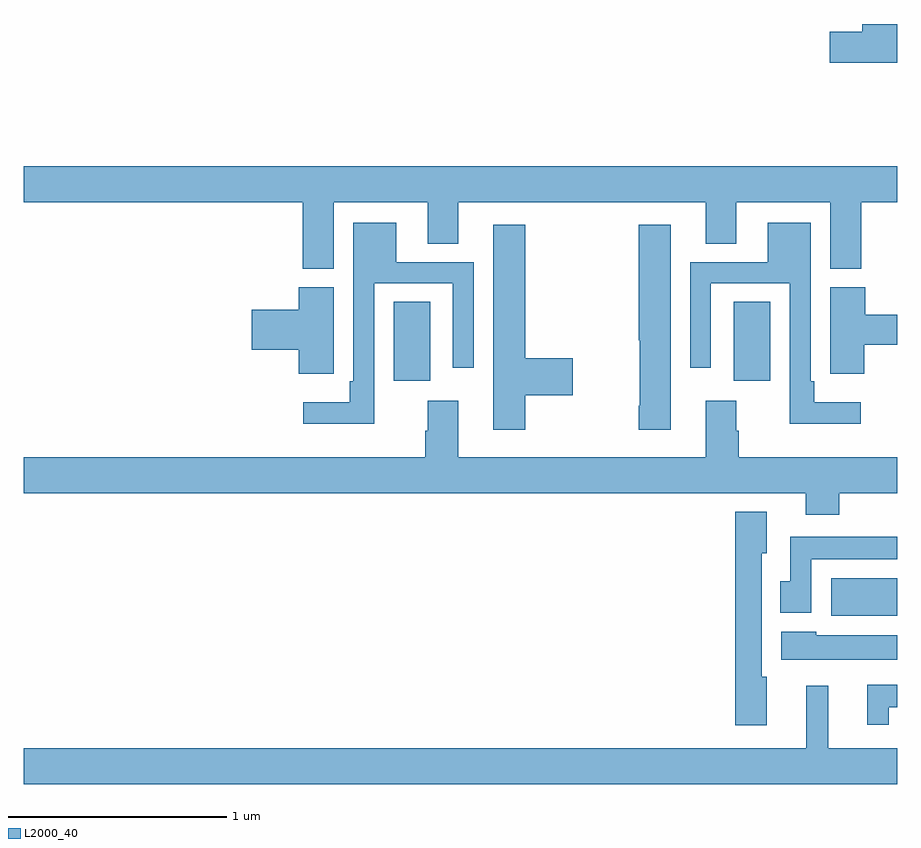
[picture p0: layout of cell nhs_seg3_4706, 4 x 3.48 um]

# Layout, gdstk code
import gdstk
lib = gdstk.Library(unit=1e-6, precision=1e-09)
def R(c, l, rs):  # rectangles x0, y0, x1, y1
    for r in rs: c.add(gdstk.rectangle(r[:2], r[2:], *l))
def P(c, l, *ps):  # polygons
    for p in ps: c.add(gdstk.Polygon(p, *l))
L2000_40 = (2000, 40)

nhs_seg3_4706 = lib.new_cell('nhs_seg3_4706')
R(nhs_seg3_4706, L2000_40, [(366.698,741.647,367,741.817), (364.694,742.722,364.861,743.084), (366.251,742.722,366.418,743.084)])
P(nhs_seg3_4706, L2000_40, [(367,744.356),(366.839,744.356),(366.839,744.32),(366.69,744.32),(366.69,744.178),(367,744.178)],
  [(364.42,743.54),(364.85,743.54),(364.85,743.35),(364.99,743.35),(364.99,743.54),(366.122,743.54),(366.122,743.35),(366.262,743.35),(366.262,743.54),(366.692,743.54),(366.692,743.236),(366.836,743.236),(366.836,743.54),(367,743.54),(367,743.704),(363,743.704),(363,743.54),(364.277,743.54),(364.277,743.236),(364.42,743.236)],
  [(364.605,743.169),(364.965,743.169),(364.965,742.782),(365.061,742.782),(365.061,743.265),(364.705,743.265),(364.705,743.446),(364.509,743.446),(364.509,742.72),(364.493,742.72),(364.493,742.624),(364.281,742.624),(364.281,742.526),(364.605,742.526)],
  [(366.832,742.624),(366.619,742.624),(366.619,742.72),(366.603,742.72),(366.603,743.446),(366.407,743.446),(366.407,743.265),(366.051,743.265),(366.051,742.782),(366.147,742.782),(366.147,743.169),(366.507,743.169),(366.507,742.526),(366.832,742.526)],
  [(365.297,742.655),(365.515,742.655),(365.515,742.826),(365.297,742.826),(365.297,743.437),(365.15,743.437),(365.15,742.497),(365.297,742.497)],
  [(365.962,743.437),(365.816,743.437),(365.816,742.909),(365.821,742.909),(365.821,742.609),(365.816,742.609),(365.816,742.497),(365.962,742.497)],
  [(364.419,742.867),(364.42,742.867),(364.42,743.151),(364.259,743.151),(364.259,743.048),(364.044,743.048),(364.044,742.865),(364.259,742.865),(364.259,742.755),(364.419,742.755)],
  [(366.849,742.888),(367,742.888),(367,743.024),(366.854,743.024),(366.854,743.151),(366.692,743.151),(366.692,742.867),(366.693,742.867),(366.693,742.755),(366.849,742.755)],
  [(366.581,742.109),(366.734,742.109),(366.734,742.208),(367,742.208),(367,742.372),(366.275,742.372),(366.275,742.493),(366.262,742.493),(366.262,742.63),(366.122,742.63),(366.122,742.372),(364.99,742.372),(364.99,742.63),(364.85,742.63),(364.85,742.493),(364.838,742.493),(364.838,742.372),(363,742.372),(363,742.208),(366.581,742.208)],
  [(366.403,741.366),(366.379,741.366),(366.379,741.933),(366.403,741.933),(366.403,742.123),(366.257,742.123),(366.257,741.144),(366.403,741.144)],
  [(366.606,741.905),(367,741.905),(367,742.009),(366.509,742.009),(366.509,741.804),(366.464,741.804),(366.464,741.66),(366.606,741.66)],
  [(367,741.556),(366.63,741.556),(366.63,741.574),(366.468,741.574),(366.468,741.446),(367,741.446)],
  [(366.961,741.227),(367,741.227),(367,741.331),(366.863,741.331),(366.863,741.147),(366.961,741.147)],
  [(367,741.04),(366.683,741.04),(366.683,741.325),(366.584,741.325),(366.584,741.04),(363,741.04),(363,740.876),(367,740.876)])

lib.write_gds('nhs_seg3_4706.gds')
